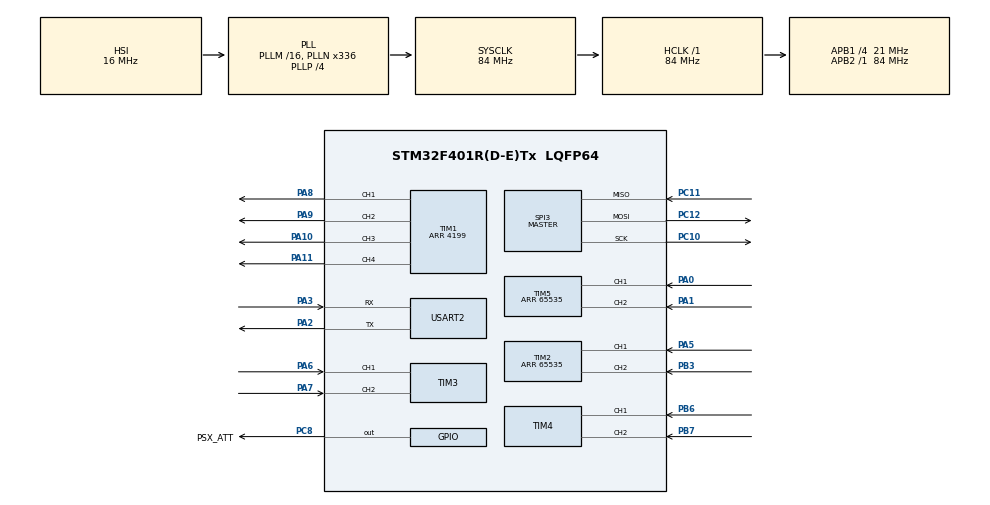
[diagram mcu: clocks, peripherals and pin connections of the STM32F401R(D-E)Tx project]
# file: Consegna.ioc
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Mcu.Family=STM32F4
Mcu.Name=STM32F401R(D-E)Tx
Mcu.Package=LQFP64
NVIC.PriorityGroup=NVIC_PRIORITYGROUP_0
NVIC.TIM1_TRG_COM_TIM11_IRQn=true\:0\:0\:false\:false\:true\:true\:true\:true
PA0-WKUP.Signal=S_TIM5_CH1
PA1.Signal=S_TIM5_CH2
PA10.Signal=S_TIM1_CH3
PA11.Signal=S_TIM1_CH4
PA2.Mode=Asynchronous
PA2.Signal=USART2_TX
PA3.Mode=Asynchronous
PA3.Signal=USART2_RX
PA5.Signal=S_TIM2_CH1_ETR
PA6.Signal=S_TIM3_CH1
PA7.Signal=S_TIM3_CH2
PA8.Signal=S_TIM1_CH1
PA9.Signal=S_TIM1_CH2
PB3.Signal=S_TIM2_CH2
PB6.Signal=S_TIM4_CH1
PB7.Signal=S_TIM4_CH2
PC10.Mode=Full_Duplex_Master
PC10.Signal=SPI3_SCK
PC11.Mode=Full_Duplex_Master
PC11.Signal=SPI3_MISO
PC12.Mode=Full_Duplex_Master
PC12.Signal=SPI3_MOSI
PC8.GPIO_Label=PSX_ATT
PC8.Signal=GPIO_Output
ProjectManager.HeapSize=0x200
ProjectManager.StackSize=0x400
ProjectManager.TargetToolchain=STM32CubeIDE
RCC.48MHZClocksFreq_Value=48000000
RCC.AHBFreq_Value=84000000
RCC.APB1CLKDivider=RCC_HCLK_DIV4
RCC.APB1Freq_Value=21000000
RCC.APB1TimFreq_Value=42000000
RCC.APB2Freq_Value=84000000
RCC.APB2TimFreq_Value=84000000
RCC.CortexFreq_Value=84000000
RCC.HCLKFreq_Value=84000000
RCC.HSE_VALUE=8000000
RCC.HSI_VALUE=16000000
RCC.LSE_VALUE=32768
RCC.PLLN=336
RCC.PLLP=RCC_PLLP_DIV4
RCC.PLLQ=7
RCC.SYSCLKFreq_VALUE=84000000
RCC.SYSCLKSource=RCC_SYSCLKSOURCE_PLLCLK
RCC.VCOOutputFreq_Value=336000000
SH.S_TIM1_CH1.0=TIM1_CH1,PWM Generation1 CH1
SH.S_TIM1_CH2.0=TIM1_CH2,PWM Generation2 CH2
SH.S_TIM1_CH3.0=TIM1_CH3,PWM Generation3 CH3
SH.S_TIM1_CH4.0=TIM1_CH4,PWM Generation4 CH4
SH.S_TIM2_CH1_ETR.0=TIM2_CH1,Encoder_Interface
SH.S_TIM2_CH2.0=TIM2_CH2,Encoder_Interface
SH.S_TIM3_CH1.0=TIM3_CH1,Encoder_Interface
SH.S_TIM3_CH2.0=TIM3_CH2,Encoder_Interface
SH.S_TIM4_CH1.0=TIM4_CH1,Encoder_Interface
SH.S_TIM4_CH2.0=TIM4_CH2,Encoder_Interface
SH.S_TIM5_CH1.0=TIM5_CH1,Encoder_Interface
SH.S_TIM5_CH2.0=TIM5_CH2,Encoder_Interface
SPI3.BaudRatePrescaler=SPI_BAUDRATEPRESCALER_256
SPI3.CLKPhase=SPI_PHASE_2EDGE
SPI3.CLKPolarity=SPI_POLARITY_HIGH
SPI3.Direction=SPI_DIRECTION_2LINES
SPI3.FirstBit=SPI_FIRSTBIT_LSB
SPI3.Mode=SPI_MODE_MASTER
SPI3.VirtualType=VM_MASTER
TIM1.Channel-PWM\ Generation1\ CH1=TIM_CHANNEL_1
TIM1.Channel-PWM\ Generation2\ CH2=TIM_CHANNEL_2
TIM1.Channel-PWM\ Generation3\ CH3=TIM_CHANNEL_3
TIM1.Channel-PWM\ Generation4\ CH4=TIM_CHANNEL_4
TIM1.OCFastMode_PWM-PWM\ Generation1\ CH1=TIM_OCFAST_ENABLE
TIM1.OCFastMode_PWM-PWM\ Generation2\ CH2=TIM_OCFAST_ENABLE
TIM1.OCFastMode_PWM-PWM\ Generation3\ CH3=TIM_OCFAST_ENABLE
TIM1.OCFastMode_PWM-PWM\ Generation4\ CH4=TIM_OCFAST_ENABLE
TIM1.Period=4199
TIM11.Period=45000-1
TIM11.Prescaler=84-1
TIM2.EncoderMode=TIM_ENCODERMODE_TI12
TIM2.Period=65535
TIM3.EncoderMode=TIM_ENCODERMODE_TI12
TIM4.EncoderMode=TIM_ENCODERMODE_TI12
TIM5.EncoderMode=TIM_ENCODERMODE_TI12
TIM5.Period=65535
USART2.VirtualMode=VM_ASYNC
VP_TIM11_VS_ClockSourceINT.Mode=Enable_Timer
board=NUCLEO-F401RE

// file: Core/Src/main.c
/* USER CODE BEGIN Header */
/**
  ******************************************************************************
  * @file           : main.c
  * @brief          : Main program body
  ******************************************************************************
  * @attention
  *
  * Copyright (c) 2024 STMicroelectronics.
  * All rights reserved.
  *
  * This software is licensed under terms that can be found in the LICENSE file
  * in the root directory of this software component.
  * If no LICENSE file comes with this software, it is provided AS-IS.
  *
  ******************************************************************************
  */
/* USER CODE END Header */
#include "main.h"
#include "spi.h"
#include "tim.h"
#include "usart.h"
#include "gpio.h"

/* USER CODE BEGIN Includes */
#include "panda_psx_controller.h"
#include "stdio.h"
#include "stdlib.h"
#include "stdbool.h"
#include "math.h"
#include <errno.h>
#include <sys/unistd.h>
#include "string.h"
/* USER CODE END Includes */

/* USER CODE BEGIN PD */
#define SATURATE(x, min, max) ((x) < (min) ? (min) : ((x) > (max) ? (max) : (x)))

#define WAITING 0.180

#define ASX 0
#define ADX 1
#define PSX 2
#define PDX 3

#define FRONT_AXIS_SYNC 0
#define REAR_AXIS_SYNC 1

#define GAIN 0.9

/* USER CODE END PD */

/* USER CODE BEGIN PV */

double lastTicks[4] = {0,0,0,0};
double currentTicks[4] = {0,0,0,0};

double speed[4] = {0,0,0,0};
double speed_last[4] = {0,0,0,0};
double speed_filtered[4] = {0,0,0,0};
double speed_filtered_last[4] = {0,0,0,0};

double uZQGamma[4] = {0,0,0,0};
double eZQGamma[4] = {0,0,0,0};
double eZQGamma_last[4] = {0,0,0,0};

double uSat[4] = {0,0,0,0};

double uAntiWind[4] = {0,0,0,0};

//Sync
double uZQGamma_Sync[2] = {0,0};
double eZQGamma_Sync[2] = {0,0};
double eZQGamma_Sync_last[2] = {0,0};

double uSat_Sync[2] = {0,0};

double uAntiWind_Sync[2] = {0,0};

double y_Sync[2] = {0,0};
//End Sync

double y[4] = {0,0,0,0};

uint32_t ticControlStep;
uint32_t tocControlStep;
uint32_t controlComputationDuration;
uint32_t startTick, endTick;

double Ts = 0.045;
double referenceVals[34] = {0, 200, 150, 130, 120, 100, 20, 19, 18, 17, 16, 15, 0, 30, -30, 100, -70, 0, -150, -150, 0, -200, 0, -130, 0, -100, 0, -50, 0, -30, 70, -20, 120, 100};
double referenceVal = 0;
int referenceIndex = 0;
uint32_t k_controller = -1;

psx_t psx;

int cycleduration;

/* USER CODE END PV */

void SystemClock_Config(void);

/* USER CODE BEGIN 0 */
typedef struct circular_buffer {
	void *buffer;     // data buffer
	void *buffer_end; // end of data buffer
	size_t capacity;  // maximum number of items in the buffer
	size_t count;     // number of items in the buffer
	size_t sz;        // size of each item in the buffer
	void *head;       // pointer to head
	void *tail;       // pointer to tail
	bool writing;  // signals if the buffer is being written
} circular_buffer;

void cb_init(circular_buffer *cb, size_t capacity, size_t sz) {
	cb->buffer = calloc(capacity, sz);
	if (cb->buffer == NULL)
		printf("ALLOCATED NULL\n\r");
	// handle error
	cb->buffer_end = (char*) cb->buffer + capacity * sz;
	cb->capacity = capacity;
	cb->count = 0;
	cb->sz = sz;
	cb->head = cb->buffer;
	cb->tail = cb->buffer;
	cb->writing = false;

}

void cb_free(circular_buffer *cb) {
	free(cb->buffer);
	// clear out other fields too, just to be safe
}

void cb_push_back(circular_buffer *cb, const void *item) {
	if (cb->count == cb->capacity) {
		printf("ERROR PUSH BACK \n\r");
		// handle error
	}
	cb->writing = true;
	memmove(cb->head, item, cb->sz);
	cb->head = (char*) cb->head + cb->sz;
	if (cb->head == cb->buffer_end)
		cb->head = cb->buffer;
	cb->count++;
	cb->writing = false;
}

void cb_pop_front(circular_buffer *cb, void *item) {
	if (cb->count == 0) {
		printf("ERROR PUSH BACK \n\r");
		// handle error
	}
	memmove(item, cb->tail, cb->sz);
	cb->tail = (char*) cb->tail + cb->sz;
	if (cb->tail == cb->buffer_end)
		cb->tail = cb->buffer;
	while ((cb->writing))
		;
	cb->count--;
}

circular_buffer myBuff;

/* BEGIN RECORD TYPEDEF*/
typedef struct record {
	double current_u[4]; // value of the current controller output
	double current_y[4]; // value of the current motor output (speed)
	uint32_t cycleCoreDuration; // time needed to read, compute and actuate
	uint32_t cycleBeginDelay; // difference between the actual and the expected absolute start time of the cycle
	uint32_t currentTimestamp; // current timestamp in millis
} record;

int _write(int file, char *data, int len) {
	if ((file != STDOUT_FILENO) && (file != STDERR_FILENO)) {
		errno = EBADF;
		return -1;
	}

	// arbitrary timeout 1000
	HAL_StatusTypeDef status = HAL_UART_Transmit(&huart2, (uint8_t*) data, len,
			1000);

	// return # of bytes written - as best we can tell
	return (status == HAL_OK ? len : 0);
}

void setPulseFromDutyValue(TIM_HandleTypeDef *htim, uint32_t Channel, double dutyVal) {
	__HAL_TIM_SET_COMPARE(htim, Channel,
			(abs(dutyVal) * ((double )htim->Init.Period)) / 100); //cast integer value to double to correctly perform division between decimal numbers
}

double getSpeedByDelta(double ticksDelta, double Ts) {
	return ticksDelta * 60 / (2448 * Ts);
}

double getTicksDelta(double currentTicks, double lastTicks, double Ts, uint8_t power) {
	double delta;

	if (abs(currentTicks - lastTicks) <= ceil(7630 * Ts))
		delta = currentTicks - lastTicks;

	else {
		if (lastTicks > currentTicks)
			delta = currentTicks + pow(2, power) - 1 - lastTicks;
		else
			delta = currentTicks - pow(2, power) + 1 - lastTicks;
	}

	return delta;
}

void HAL_TIM_PeriodElapsedCallback(TIM_HandleTypeDef *htim) {
	if (htim == &htim11) {
		k_controller = k_controller + 1;
		if (k_controller == 0) {
			ticControlStep = HAL_GetTick();
		}

		tocControlStep = HAL_GetTick();
		//printf("%d\r\n", tocControlStep);
		//printf("%f, %f\r\n", currentTicks[PDX], lastTicks[PDX]);
		currentTicks[ASX] = (double) __HAL_TIM_GET_COUNTER(&htim2);
		currentTicks[ADX] = (double) __HAL_TIM_GET_COUNTER(&htim3);
		currentTicks[PSX] = (double) __HAL_TIM_GET_COUNTER(&htim4);
		currentTicks[PDX] = (double) __HAL_TIM_GET_COUNTER(&htim5);
		speed[ASX] = getSpeedByDelta(
						getTicksDelta(currentTicks[ASX], lastTicks[ASX], Ts, 16), Ts);
		speed[ADX] = getSpeedByDelta(
						getTicksDelta(currentTicks[ADX], lastTicks[ADX], Ts, 16), Ts);
		speed[PSX] = getSpeedByDelta(
						getTicksDelta(currentTicks[PSX], lastTicks[PSX], Ts, 16), Ts);
		speed[PDX] = getSpeedByDelta(
						getTicksDelta(currentTicks[PDX], lastTicks[PDX], Ts, 16), Ts);

		speed_filtered[ASX] = 0.1837 * speed[ASX] + 0.1837 * speed_last[ASX] + 0.6327 * speed_filtered_last[ASX];
		speed_filtered[ADX] = 0.1837 * speed[ADX] + 0.1837 * speed_last[ADX] + 0.6327 * speed_filtered_last[ADX];
		speed_filtered[PSX] = 0.1837 * speed[PSX] + 0.1837 * speed_last[PSX] + 0.6327 * speed_filtered_last[PSX];
		speed_filtered[PDX] = 0.1837 * speed[PDX] + 0.1837 * speed_last[PDX] + 0.6327 * speed_filtered_last[PDX];

		panda_psx_read_gamepad(&psx);
		referenceVal = (double)((panda_psx_get_analog_intensity(&psx, LEFT_Y_AXIS) -128) * 1.17);
		//printf("ref %.2f -  %.2f, %.2f, %.2f, %.2f\r\n", referenceVal, speed_filtered[ASX], speed_filtered[ADX], speed_filtered[PSX], speed_filtered[PDX]);

		eZQGamma[ASX] = referenceVal - speed_filtered[ASX];
		eZQGamma[ADX] = referenceVal - speed_filtered[ADX];
		eZQGamma[PSX] = referenceVal - speed_filtered[PSX];
		eZQGamma[PDX] = referenceVal - speed_filtered[PDX];

		uZQGamma[ASX] = GAIN * (0.08400 * eZQGamma[ASX] - 0.06600 * eZQGamma_last[ASX]);
		uZQGamma[ADX] = GAIN * (0.08367 * eZQGamma[ADX] - 0.06567 * eZQGamma_last[ADX]);
		uZQGamma[PSX] = GAIN * (0.08674 * eZQGamma[PSX] - 0.06874 * eZQGamma_last[PSX]);
		uZQGamma[PDX] = GAIN * (0.08422 * eZQGamma[PDX] - 0.06622 * eZQGamma_last[PDX]);

		uSat[ASX] = SATURATE(uZQGamma[ASX] + uAntiWind[ASX], -12, 12);
		uSat[ADX] = SATURATE(uZQGamma[ADX] + uAntiWind[ADX], -12, 12);
		uSat[PSX] = SATURATE(uZQGamma[PSX] + uAntiWind[PSX], -12, 12);
		uSat[PDX] = SATURATE(uZQGamma[PDX] + uAntiWind[PDX], -12, 12);

		eZQGamma_Sync[FRONT_AXIS_SYNC] = speed_filtered[ASX] - speed_filtered[ADX];
		eZQGamma_Sync[REAR_AXIS_SYNC] = speed_filtered[PSX] - speed_filtered[PDX];

		uZQGamma_Sync[FRONT_AXIS_SYNC] =  GAIN * ( 0.08400 * eZQGamma_Sync[FRONT_AXIS_SYNC] - 0.06600 * eZQGamma_Sync_last[FRONT_AXIS_SYNC]);
		uZQGamma_Sync[REAR_AXIS_SYNC] =  GAIN * ( 0.08674 * eZQGamma_Sync[REAR_AXIS_SYNC] - 0.06874 * eZQGamma_Sync_last[REAR_AXIS_SYNC]);

		uSat_Sync[FRONT_AXIS_SYNC] = SATURATE(uZQGamma_Sync[FRONT_AXIS_SYNC] + uAntiWind_Sync[FRONT_AXIS_SYNC], -12, 12);
		uSat_Sync[REAR_AXIS_SYNC] = SATURATE(uZQGamma_Sync[REAR_AXIS_SYNC] + uAntiWind_Sync[REAR_AXIS_SYNC], -12, 12);

		y[ASX] = SATURATE(uSat[ASX] - uSat_Sync[FRONT_AXIS_SYNC], -12, 12);
		y[PSX] = SATURATE(uSat[PSX] - uSat_Sync[REAR_AXIS_SYNC], -12, 12);

		setPulseFromDutyValue(&htim1, TIM_CHANNEL_1, y[ASX]    * 1.5 + 75.2);
	    setPulseFromDutyValue(&htim1, TIM_CHANNEL_2, uSat[ADX] * 1.5 + 75.2);
	    setPulseFromDutyValue(&htim1, TIM_CHANNEL_3, y[PSX]    * 1.5 + 75.2);
	    setPulseFromDutyValue(&htim1, TIM_CHANNEL_4, uSat[PDX] * 1.5 + 75.2);

	    uAntiWind[ASX] = uSat[ASX];
		uAntiWind[ADX] = uSat[ADX];
		uAntiWind[PSX] = uSat[PSX];
		uAntiWind[PDX] = uSat[PDX];

	    eZQGamma_last[ASX] = eZQGamma[ASX];
		eZQGamma_last[ADX] = eZQGamma[ADX];
		eZQGamma_last[PSX] = eZQGamma[PSX];
		eZQGamma_last[PDX] = eZQGamma[PDX];

		speed_last[ASX] = speed[ASX];
		speed_last[ADX] = speed[ADX];
		speed_last[PSX] = speed[PSX];
		speed_last[PDX] = speed[PDX];

		speed_filtered_last[ASX] = speed_filtered[ASX];
		speed_filtered_last[ADX] = speed_filtered[ADX];
		speed_filtered_last[PSX] = speed_filtered[PSX];
		speed_filtered_last[PDX] = speed_filtered[PDX];

		eZQGamma_Sync_last[FRONT_AXIS_SYNC] = eZQGamma_Sync[FRONT_AXIS_SYNC];
		eZQGamma_Sync_last[REAR_AXIS_SYNC] = eZQGamma_Sync[REAR_AXIS_SYNC];
		uAntiWind_Sync[FRONT_AXIS_SYNC] = uSat_Sync[FRONT_AXIS_SYNC];
		uAntiWind_Sync[REAR_AXIS_SYNC] = uSat_Sync[REAR_AXIS_SYNC];

		controlComputationDuration = HAL_GetTick() - tocControlStep;

		lastTicks[ASX] = currentTicks[ASX];
		lastTicks[ADX] = currentTicks[ADX];
		lastTicks[PSX] = currentTicks[PSX];
		lastTicks[PDX] = currentTicks[PDX];

		record r;
		r.current_u[ASX] = y[ASX];
		r.current_u[ADX] = uSat[ADX];
		r.current_u[PSX] = y[PSX];
		r.current_u[PDX] = uSat[PDX];

		r.current_y[ASX] = speed_filtered[ASX];
		r.current_y[ADX] = speed_filtered[ADX];
		r.current_y[PSX] = speed_filtered[PSX];
		r.current_y[PDX] = speed_filtered[PDX];
		r.cycleCoreDuration = controlComputationDuration;
		r.cycleBeginDelay = tocControlStep - ticControlStep
				- (k_controller * Ts * 1000);
		r.currentTimestamp = HAL_GetTick();

		cb_push_back(&myBuff, &r);

	}
}

/* USER CODE END 0 */

int main(void)
{

  /* MCU Configuration--------------------------------------------------------*/

  /* Reset of all peripherals, Initializes the Flash interface and the Systick. */
  HAL_Init();

  /* Configure the system clock */
  SystemClock_Config();

  /* Initialize all configured peripherals */
  MX_TIM1_Init();
  setPulseFromDutyValue(&htim1, TIM_CHANNEL_1, 75.2);
  setPulseFromDutyValue(&htim1, TIM_CHANNEL_2, 75.2);
  setPulseFromDutyValue(&htim1, TIM_CHANNEL_3, 75.2);
  setPulseFromDutyValue(&htim1, TIM_CHANNEL_4, 75.2);
  HAL_TIM_PWM_Start(&htim1, TIM_CHANNEL_1);
  HAL_TIM_PWM_Start(&htim1, TIM_CHANNEL_2);
  HAL_TIM_PWM_Start(&htim1, TIM_CHANNEL_3);
  HAL_TIM_PWM_Start(&htim1, TIM_CHANNEL_4);
  MX_GPIO_Init();
  MX_TIM11_Init();
  MX_TIM2_Init();
  MX_TIM3_Init();
  MX_TIM4_Init();
  MX_TIM5_Init();
  MX_SPI3_Init();
  MX_USART2_UART_Init();
  /* USER CODE BEGIN 2 */

  HAL_TIM_Base_Start(&htim2);
  HAL_TIM_Base_Start(&htim3);
  HAL_TIM_Base_Start(&htim4);
  HAL_TIM_Base_Start(&htim5);

  size_t bufferSize = (size_t)ceil(2 * WAITING / Ts);
  cb_init(&myBuff, bufferSize, sizeof(record));

  HAL_Delay(1000);

  panda_psx_init(&psx, &hspi3, PSX_ATT_GPIO_Port, PSX_ATT_Pin);
  HAL_TIM_Base_Start_IT(&htim11);
  printf("INIT\n\r"); // initialize the Matlab tool for COM data acquiring

  /* USER CODE END 2 */

  /* Infinite loop */
  /* USER CODE BEGIN WHILE */
  while (1)
  {

	size_t nEntriesToSend = myBuff.count; //number of samples not read yet
	record retrieved; //buffer entry

	for (size_t count = 0; count < nEntriesToSend; count++) {
		cb_pop_front(&myBuff, &retrieved); //take entry from the buffer
		printf("T{%lu}, CycleT{%lu}, ASX{%.3f, %.3f} ADX{%.3f, %.3f} PSX{%.3f, %.3f} PDX{%.3f, %.3f}\n\r",
		retrieved.currentTimestamp, retrieved.cycleCoreDuration, retrieved.current_u[ASX], retrieved.current_y[ASX],
		retrieved.current_u[ADX], retrieved.current_y[ADX], retrieved.current_u[PSX], retrieved.current_y[PSX],
		retrieved.current_u[PDX], retrieved.current_y[PDX]
			); // send values via USART using format: value1, value2, value3, ... valuen \n \r
	}

	HAL_Delay(WAITING*1000); // takes a time value in ms

    /* USER CODE END WHILE */

  }
}

void SystemClock_Config(void)
{
  RCC_OscInitTypeDef RCC_OscInitStruct = {0};
  RCC_ClkInitTypeDef RCC_ClkInitStruct = {0};

  /** Configure the main internal regulator output voltage
  */
  __HAL_RCC_PWR_CLK_ENABLE();
  __HAL_PWR_VOLTAGESCALING_CONFIG(PWR_REGULATOR_VOLTAGE_SCALE2);

  /** Initializes the RCC Oscillators according to the specified parameters
  * in the RCC_OscInitTypeDef structure.
  */
  RCC_OscInitStruct.OscillatorType = RCC_OSCILLATORTYPE_HSI;
  RCC_OscInitStruct.HSIState = RCC_HSI_ON;
  RCC_OscInitStruct.HSICalibrationValue = RCC_HSICALIBRATION_DEFAULT;
  RCC_OscInitStruct.PLL.PLLState = RCC_PLL_ON;
  RCC_OscInitStruct.PLL.PLLSource = RCC_PLLSOURCE_HSI;
  RCC_OscInitStruct.PLL.PLLM = 16;
  RCC_OscInitStruct.PLL.PLLN = 336;
  RCC_OscInitStruct.PLL.PLLP = RCC_PLLP_DIV4;
  RCC_OscInitStruct.PLL.PLLQ = 7;
  if (HAL_RCC_OscConfig(&RCC_OscInitStruct) != HAL_OK)
  {
    Error_Handler();
  }

  /** Initializes the CPU, AHB and APB buses clocks
  */
  RCC_ClkInitStruct.ClockType = RCC_CLOCKTYPE_HCLK|RCC_CLOCKTYPE_SYSCLK
                              |RCC_CLOCKTYPE_PCLK1|RCC_CLOCKTYPE_PCLK2;
  RCC_ClkInitStruct.SYSCLKSource = RCC_SYSCLKSOURCE_PLLCLK;
  RCC_ClkInitStruct.AHBCLKDivider = RCC_SYSCLK_DIV1;
  RCC_ClkInitStruct.APB1CLKDivider = RCC_HCLK_DIV4;
  RCC_ClkInitStruct.APB2CLKDivider = RCC_HCLK_DIV1;

  if (HAL_RCC_ClockConfig(&RCC_ClkInitStruct, FLASH_LATENCY_2) != HAL_OK)
  {
    Error_Handler();
  }
}

void Error_Handler(void)
{
  __disable_irq();
  while (1)
  {
  }
}
